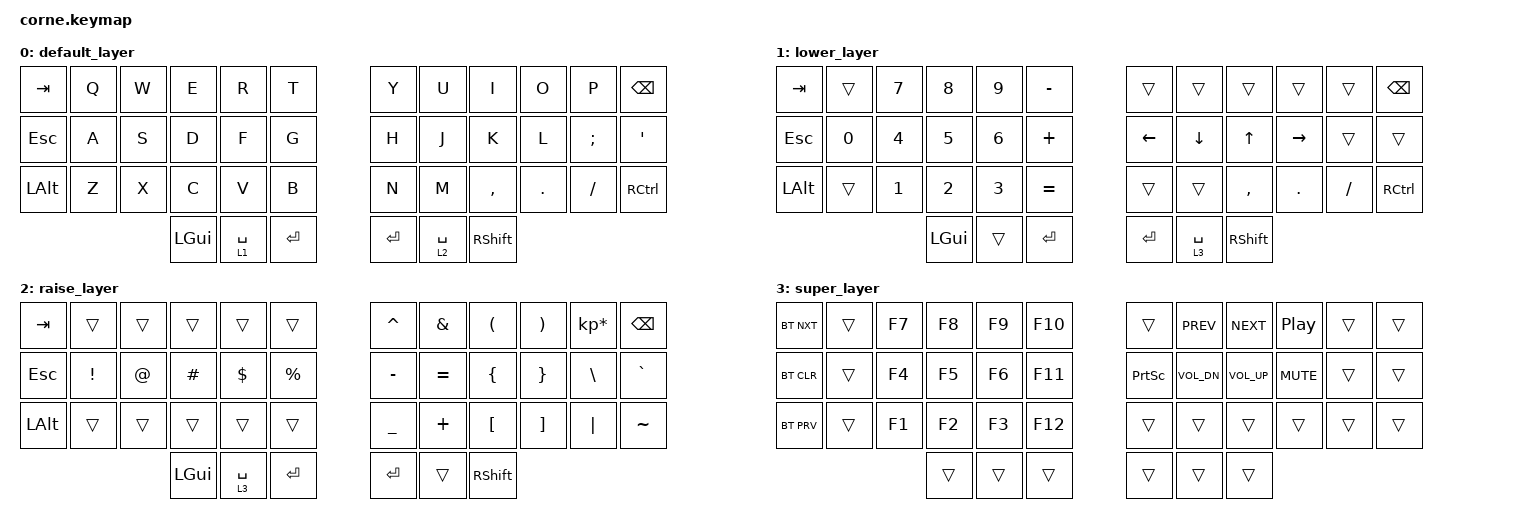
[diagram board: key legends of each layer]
/*
 * Copyright (c) 2020 The ZMK Contributors
 *
 * SPDX-License-Identifier: MIT
 */

#include <behaviors.dtsi>
#include <dt-bindings/zmk/keys.h>
#include <dt-bindings/zmk/bt.h>

/ {
        keymap {
                compatible = "zmk,keymap";

                default_layer {

                        bindings = <
       		 &kp TAB &kp Q &kp W &kp E &kp R &kp T      &kp Y &kp U &kp I &kp O &kp P &kp BSPC
                 &kp ESC &kp A &kp S &kp D &kp F &kp G      &kp H &kp J &kp K &kp L &kp SEMI &kp SQT
                &kp LALT &kp Z &kp X &kp C &kp V &kp B      &kp N &kp M &kp COMMA &kp DOT &kp FSLH &kp RCTRL
                          &kp LGUI &lt 1 SPACE &kp RET      &kp RET &lt 2 SPACE &kp RSHFT
                        >;
                };

                lower_layer {

                        bindings = <
   	 &kp TAB &trans &kp N7 &kp N8 &kp N9 &kp MINUS      &trans &trans &trans &trans &trans &kp BSPC
   	  &kp ESC &kp N0 &kp N4 &kp N5 &kp N6 &kp PLUS      &kp LEFT &kp DOWN &kp UP &kp RIGHT &trans &trans
        &kp LALT &trans &kp N1 &kp N2 &kp N3 &kp EQUAL      &trans &trans &kp COMMA &kp DOT &kp FSLH &kp RCTRL
    	                       &kp LGUI &trans &kp RET      &kp RET &lt 3 SPACE &kp RSHFT
                        >;
                };

                raise_layer {

                        bindings = <
            &kp TAB &trans &trans &trans &trans &trans      &kp CARET &kp AMPS &kp LPAR &kp RPAR &kp KP_MULTIPLY &kp BSPC
   &kp ESC &kp EXCL &kp AT &kp HASH &kp DLLR &kp PRCNT      &kp MINUS &kp EQUAL &kp LBRC &kp RBRC &kp BSLH &kp GRAVE
           &kp LALT &trans &trans &trans &trans &trans      &kp UNDER &kp PLUS &kp LBKT &kp RBKT &kp PIPE &kp TILDE
                          &kp LGUI &lt 3 SPACE &kp RET      &kp RET &trans &kp RSHFT
                        >;
                };

		super_layer {

                        bindings = <
        &bt BT_NXT &trans &kp F7 &kp F8 &kp F9 &kp F10      &trans &kp C_PREV &kp C_NEXT &kp C_PLAY_PAUSE &trans &trans
        &bt BT_CLR &trans &kp F4 &kp F5 &kp F6 &kp F11      &kp PSCRN &kp C_VOL_DN &kp C_VOL_UP &kp C_MUTE &trans &trans
        &bt BT_PRV &trans &kp F1 &kp F2 &kp F3 &kp F12      &trans &trans &trans &trans &trans &trans
                                  &trans &trans &trans      &trans &trans &trans
                        >;
                };
        };
};
